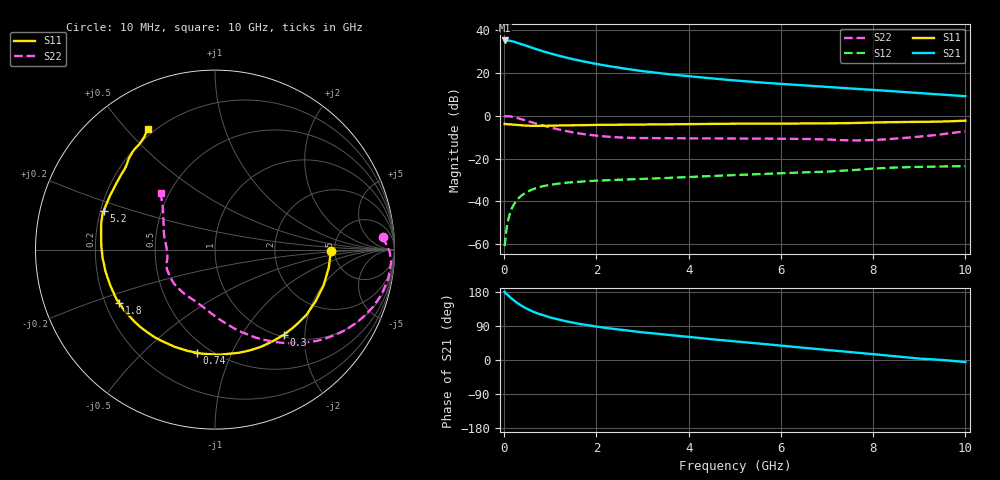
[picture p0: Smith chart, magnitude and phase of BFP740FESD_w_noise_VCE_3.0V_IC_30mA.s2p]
! Infineon Technologies  Discrete & RF Semiconductors
! BFP740FESD
! VCE =  3.0 V,  IC =  30 mA
! Common Emitter S-Parameters:  Jan 2016
# GHz  S  MA  R  50
!  f  S11  S21  S12  S22
! GHz  MAG  ANG  MAG  ANG  MAG  ANG  MAG  ANG
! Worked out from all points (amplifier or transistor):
!   233 points, 10 MHz to 10 GHz, reference 50 ohm
!   highest |S21| = 35.2 dB at 20 MHz (marker M1)
!   |S21| within 3 dB of that: start of sweep to 550.4 MHz
!   unconditionally stable (mu >= 1): 5.252 GHz to end of sweep
!   at 200 MHz: K = 0.13, MSG = 38.3 dB, |S12| = -41.8 dB
!   at 1.74 GHz: K = 0.54, MSG = 28.0 dB, |S12| = -30.6 dB
!   at 10 GHz: K = 1.14, MAG = 14.1 dB, |S12| = -23.5 dB
!   lowest NFmin = 0.98 dB at 450 MHz
!   S11 on the Smith chart (normalised r, x): 10 MHz: 4.69, -0.13; 300 MHz: 1.04, -1.57; 740 MHz: 0.43, -0.74; 1.8 GHz: 0.26, -0.24; 5.2 GHz: 0.21, +0.16; 10 GHz: 0.17, +0.58
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0.01  0.6486 -0.7  57.71 179.9  0.0009 99.7  0.9377 4.3
0.02  0.6426 -3.5  57.78 177.6  0.0011 93.8  0.9739 -0.8
0.1  0.6371 -18.3  57.26 169.1  0.0042 80.2  0.9787 -9.7
0.15  0.6301 -27.2  56.1 163.5  0.0063 78.6  0.9615 -14.9
0.24  0.6178 -41.9  52.89 154.5  0.0095 71.8  0.9155 -23.2
0.3  0.6103 -51.1  50.68 149.1  0.0115 68.2  0.8805 -28.2
0.4  0.5989 -64.8  46.59 141.3  0.0143 62.8  0.8188 -35.6
0.5  0.5901 -77.0  42.72 134.7  0.0168 58.2  0.7598 -42.1
0.6  0.5864 -87.6  39.22 128.9  0.0188 54.5  0.7046 -47.6
0.74  0.583 -100.1  34.98 122.4  0.0212 50.0  0.6373 -54.5
0.9  0.5864 -112.2  30.95 115.8  0.0234 45.8  0.5719 -61.6
1.14  0.5933 -126.4  26.19 107.8  0.0258 41.2  0.4923 -70.9
1.4  0.602 -138.3  22.23 100.7  0.0277 37.6  0.4279 -79.8
1.68  0.6093 -147.9  19.1 94.4  0.0291 35.1  0.3803 -88.0
1.8  0.6118 -151.1  17.93 92.0  0.0296 34.4  0.3652 -91.1
2.44  0.619 -165.9  13.58 80.9  0.032 31.9  0.3152 -106.6
3.4  0.6319 179.6  9.847 68.2  0.0349 31.9  0.3006 -122.0
5.1  0.6565 161.7  6.578 48.1  0.0417 32.9  0.2964 -140.0
5.2  0.6561 160.8  6.449 47.0  0.0422 32.9  0.2959 -141.0
6.8  0.6648 143.9  4.882 28.8  0.0489 32.4  0.2835 -161.7
8.4  0.7121 130.1  3.777 10.6  0.0615 29.7  0.2898 166.6
10  0.7694 119.0  2.887 -5.4  0.0668 21.7  0.4368 133.9
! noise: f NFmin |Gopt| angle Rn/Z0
0.45  0.98  0.16  -169  0.08
2.4  1.01  0.17  -160  0.09
5.5  1.18  0.22  -171  0.09
10  1.68  0.42  -113  0.22
